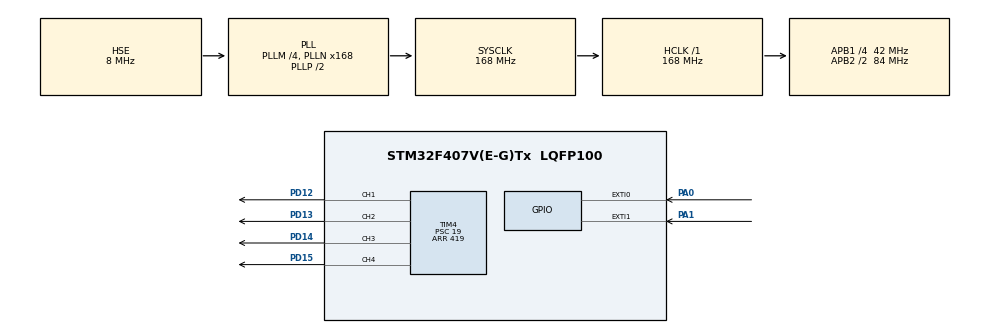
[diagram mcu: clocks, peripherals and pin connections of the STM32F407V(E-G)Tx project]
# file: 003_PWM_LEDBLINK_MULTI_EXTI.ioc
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Mcu.Family=STM32F4
Mcu.Name=STM32F407V(E-G)Tx
Mcu.Package=LQFP100
NVIC.EXTI0_IRQn=true\:0\:0\:false\:false\:true\:true\:true\:true
NVIC.EXTI1_IRQn=true\:1\:0\:true\:false\:true\:true\:true\:true
NVIC.PriorityGroup=NVIC_PRIORITYGROUP_4
PA0-WKUP.Signal=GPXTI0
PA1.GPIO_PuPd=GPIO_PULLDOWN
PA1.Signal=GPXTI1
PD12.Signal=S_TIM4_CH1
PD13.Signal=S_TIM4_CH2
PD14.Signal=S_TIM4_CH3
PD15.Signal=S_TIM4_CH4
PH0-OSC_IN.Mode=HSE-External-Oscillator
PH0-OSC_IN.Signal=RCC_OSC_IN
PH1-OSC_OUT.Mode=HSE-External-Oscillator
PH1-OSC_OUT.Signal=RCC_OSC_OUT
ProjectManager.HeapSize=0x200
ProjectManager.StackSize=0x400
ProjectManager.TargetToolchain=STM32CubeIDE
RCC.48MHZClocksFreq_Value=84000000
RCC.AHBFreq_Value=168000000
RCC.APB1CLKDivider=RCC_HCLK_DIV4
RCC.APB1Freq_Value=42000000
RCC.APB1TimFreq_Value=84000000
RCC.APB2CLKDivider=RCC_HCLK_DIV2
RCC.APB2Freq_Value=84000000
RCC.APB2TimFreq_Value=168000000
RCC.CortexFreq_Value=168000000
RCC.HCLKFreq_Value=168000000
RCC.HSE_VALUE=8000000
RCC.HSI_VALUE=16000000
RCC.LSE_VALUE=32768
RCC.PLLM=4
RCC.PLLN=168
RCC.PLLSourceVirtual=RCC_PLLSOURCE_HSE
RCC.SYSCLKFreq_VALUE=168000000
RCC.SYSCLKSource=RCC_SYSCLKSOURCE_PLLCLK
RCC.VCOOutputFreq_Value=336000000
SH.S_TIM4_CH1.0=TIM4_CH1,PWM Generation1 CH1
SH.S_TIM4_CH2.0=TIM4_CH2,PWM Generation2 CH2
SH.S_TIM4_CH3.0=TIM4_CH3,PWM Generation3 CH3
SH.S_TIM4_CH4.0=TIM4_CH4,PWM Generation4 CH4
TIM4.Channel-PWM\ Generation1\ CH1=TIM_CHANNEL_1
TIM4.Channel-PWM\ Generation2\ CH2=TIM_CHANNEL_2
TIM4.Channel-PWM\ Generation3\ CH3=TIM_CHANNEL_3
TIM4.Channel-PWM\ Generation4\ CH4=TIM_CHANNEL_4
TIM4.Period=419
TIM4.Prescaler=19
VP_TIM4_VS_ClockSourceINT.Mode=Internal
board=custom

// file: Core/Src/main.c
/* USER CODE BEGIN Header */
/**
  ******************************************************************************
  * @file           : main.c
  * @brief          : Main program body
  ******************************************************************************
  * @attention
  *
  * Copyright (c) 2023 STMicroelectronics.
  * All rights reserved.
  *
  * This software is licensed under terms that can be found in the LICENSE file
  * in the root directory of this software component.
  * If no LICENSE file comes with this software, it is provided AS-IS.
  *
  ******************************************************************************
  */
/* USER CODE END Header */
#include "main.h"

TIM_HandleTypeDef htim4;

/* USER CODE BEGIN PV */

int i, itr_button;

/* USER CODE END PV */

void SystemClock_Config(void);
static void MX_GPIO_Init(void);
static void MX_TIM4_Init(void);

int main(void)
{

  /* MCU Configuration--------------------------------------------------------*/

  /* Reset of all peripherals, Initializes the Flash interface and the Systick. */
  HAL_Init();

  /* Configure the system clock */
  SystemClock_Config();

  /* Initialize all configured peripherals */
  MX_GPIO_Init();
  MX_TIM4_Init();
  /* USER CODE BEGIN 2 */

  HAL_TIM_PWM_Start(&htim4, TIM_CHANNEL_1);
  HAL_TIM_PWM_Start(&htim4, TIM_CHANNEL_2);
  HAL_TIM_PWM_Start(&htim4, TIM_CHANNEL_3);
  HAL_TIM_PWM_Start(&htim4, TIM_CHANNEL_4);

  /* USER CODE END 2 */

  /* Infinite loop */
  while (1)
  {

    /* USER CODE BEGIN 3 */

	  /****** Led blinking with CAPTURE COMPARE REGISTER (CCR) 	******/

	  /** ARR:499 , PSC:19 Values are changed for set the blinking value with HAL delay function. **/

/*
	  for (i=0; i<=419; i++)
	  {
		  TIM4 ->CCR1 = i;
		  TIM4 ->CCR2 = i;
		  TIM4 ->CCR3 = i;
		  TIM4 ->CCR4 = i;
		  HAL_Delay(3);
	  }
*/
/*
	  for (i=0; i<=419; i++)
	  {
		  __HAL_TIM_SET_COMPARE(&htim4, TIM_CHANNEL_1, i);
		  __HAL_TIM_SET_COMPARE(&htim4, TIM_CHANNEL_2, i);
		  __HAL_TIM_SET_COMPARE(&htim4, TIM_CHANNEL_3, i);
		  __HAL_TIM_SET_COMPARE(&htim4, TIM_CHANNEL_4, i);
		  HAL_Delay(3);
	  }
*/

	  switch (itr_button){
	  	case 1:							// First scenario
	  		for (i=0; i<=419; i++)
	  		{
  			  TIM4 ->CCR1 = 419-i;
  			  TIM4 ->CCR2 = 319-i;
	  		  TIM4 ->CCR3 = 219-i;
	  		  TIM4 ->CCR4 = 119-i;
	  		  HAL_Delay(2);
	  		  }
	  	break;

	  	case 2:							// Second scenario
	  		for (i=0; i<=419; i++)
	  		{
	  			 TIM4 -> CCR1 = i;
	  			 TIM4 -> CCR2 = i;
	  			 TIM4 -> CCR3 = 419-i;
	  			 TIM4 -> CCR4 = 419-i;
	  			 HAL_Delay(2);
	  		}
	  	break;

	  	default:						// Default scenario
		  for (i=0; i<=419; i++)
		  {
			  TIM4 ->CCR1 = i;
			  TIM4 ->CCR2 = i;
			  TIM4 ->CCR3 = i;
			  TIM4 ->CCR4 = i;
			  HAL_Delay(2);
		  }
	  }

  }
  /* USER CODE END 3 */
}

void SystemClock_Config(void)
{
  RCC_OscInitTypeDef RCC_OscInitStruct = {0};
  RCC_ClkInitTypeDef RCC_ClkInitStruct = {0};

  /** Configure the main internal regulator output voltage
  */
  __HAL_RCC_PWR_CLK_ENABLE();
  __HAL_PWR_VOLTAGESCALING_CONFIG(PWR_REGULATOR_VOLTAGE_SCALE1);

  /** Initializes the RCC Oscillators according to the specified parameters
  * in the RCC_OscInitTypeDef structure.
  */
  RCC_OscInitStruct.OscillatorType = RCC_OSCILLATORTYPE_HSE;
  RCC_OscInitStruct.HSEState = RCC_HSE_ON;
  RCC_OscInitStruct.PLL.PLLState = RCC_PLL_ON;
  RCC_OscInitStruct.PLL.PLLSource = RCC_PLLSOURCE_HSE;
  RCC_OscInitStruct.PLL.PLLM = 4;
  RCC_OscInitStruct.PLL.PLLN = 168;
  RCC_OscInitStruct.PLL.PLLP = RCC_PLLP_DIV2;
  RCC_OscInitStruct.PLL.PLLQ = 4;
  if (HAL_RCC_OscConfig(&RCC_OscInitStruct) != HAL_OK)
  {
    Error_Handler();
  }

  /** Initializes the CPU, AHB and APB buses clocks
  */
  RCC_ClkInitStruct.ClockType = RCC_CLOCKTYPE_HCLK|RCC_CLOCKTYPE_SYSCLK
                              |RCC_CLOCKTYPE_PCLK1|RCC_CLOCKTYPE_PCLK2;
  RCC_ClkInitStruct.SYSCLKSource = RCC_SYSCLKSOURCE_PLLCLK;
  RCC_ClkInitStruct.AHBCLKDivider = RCC_SYSCLK_DIV1;
  RCC_ClkInitStruct.APB1CLKDivider = RCC_HCLK_DIV4;
  RCC_ClkInitStruct.APB2CLKDivider = RCC_HCLK_DIV2;

  if (HAL_RCC_ClockConfig(&RCC_ClkInitStruct, FLASH_LATENCY_5) != HAL_OK)
  {
    Error_Handler();
  }
}

static void MX_TIM4_Init(void)
{

  TIM_ClockConfigTypeDef sClockSourceConfig = {0};
  TIM_MasterConfigTypeDef sMasterConfig = {0};
  TIM_OC_InitTypeDef sConfigOC = {0};

  htim4.Instance = TIM4;
  htim4.Init.Prescaler = 19;
  htim4.Init.CounterMode = TIM_COUNTERMODE_UP;
  htim4.Init.Period = 419;
  htim4.Init.ClockDivision = TIM_CLOCKDIVISION_DIV1;
  htim4.Init.AutoReloadPreload = TIM_AUTORELOAD_PRELOAD_DISABLE;
  if (HAL_TIM_Base_Init(&htim4) != HAL_OK)
  {
    Error_Handler();
  }
  sClockSourceConfig.ClockSource = TIM_CLOCKSOURCE_INTERNAL;
  if (HAL_TIM_ConfigClockSource(&htim4, &sClockSourceConfig) != HAL_OK)
  {
    Error_Handler();
  }
  if (HAL_TIM_PWM_Init(&htim4) != HAL_OK)
  {
    Error_Handler();
  }
  sMasterConfig.MasterOutputTrigger = TIM_TRGO_RESET;
  sMasterConfig.MasterSlaveMode = TIM_MASTERSLAVEMODE_DISABLE;
  if (HAL_TIMEx_MasterConfigSynchronization(&htim4, &sMasterConfig) != HAL_OK)
  {
    Error_Handler();
  }
  sConfigOC.OCMode = TIM_OCMODE_PWM1;
  sConfigOC.Pulse = 0;
  sConfigOC.OCPolarity = TIM_OCPOLARITY_HIGH;
  sConfigOC.OCFastMode = TIM_OCFAST_DISABLE;
  if (HAL_TIM_PWM_ConfigChannel(&htim4, &sConfigOC, TIM_CHANNEL_1) != HAL_OK)
  {
    Error_Handler();
  }
  if (HAL_TIM_PWM_ConfigChannel(&htim4, &sConfigOC, TIM_CHANNEL_2) != HAL_OK)
  {
    Error_Handler();
  }
  if (HAL_TIM_PWM_ConfigChannel(&htim4, &sConfigOC, TIM_CHANNEL_3) != HAL_OK)
  {
    Error_Handler();
  }
  if (HAL_TIM_PWM_ConfigChannel(&htim4, &sConfigOC, TIM_CHANNEL_4) != HAL_OK)
  {
    Error_Handler();
  }
  HAL_TIM_MspPostInit(&htim4);

}

static void MX_GPIO_Init(void)
{
  GPIO_InitTypeDef GPIO_InitStruct = {0};

  /* GPIO Ports Clock Enable */
  __HAL_RCC_GPIOH_CLK_ENABLE();
  __HAL_RCC_GPIOA_CLK_ENABLE();
  __HAL_RCC_GPIOD_CLK_ENABLE();

  /*Configure GPIO pin : PA0 */
  GPIO_InitStruct.Pin = GPIO_PIN_0;
  GPIO_InitStruct.Mode = GPIO_MODE_IT_RISING;
  GPIO_InitStruct.Pull = GPIO_NOPULL;
  HAL_GPIO_Init(GPIOA, &GPIO_InitStruct);

  /*Configure GPIO pin : PA1 */
  GPIO_InitStruct.Pin = GPIO_PIN_1;
  GPIO_InitStruct.Mode = GPIO_MODE_IT_RISING;
  GPIO_InitStruct.Pull = GPIO_PULLDOWN;
  HAL_GPIO_Init(GPIOA, &GPIO_InitStruct);

  /* EXTI interrupt init*/
  HAL_NVIC_SetPriority(EXTI0_IRQn, 0, 0);
  HAL_NVIC_EnableIRQ(EXTI0_IRQn);

  HAL_NVIC_SetPriority(EXTI1_IRQn, 1, 0);
  HAL_NVIC_EnableIRQ(EXTI1_IRQn);

}

void Error_Handler(void)
{
  __disable_irq();
  while (1)
  {
  }
}
